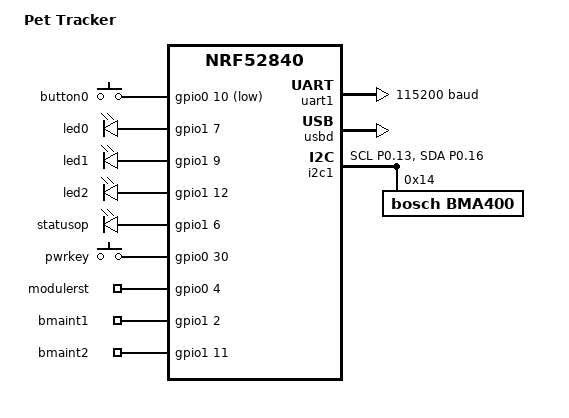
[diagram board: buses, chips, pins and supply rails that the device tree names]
// Copyright (c) 2024 Nordic Semiconductor ASA
// SPDX-License-Identifier: Apache-2.0

/dts-v1/;
#include <nordic/nrf52840_qiaa.dtsi>
#include "pet_tracker_pinctrl.dtsi"

/ {
	model = "Pet Tracker";
	compatible = "indiesemic,pet-tracker";

	chosen {
		zephyr,sram = &sram0;
		zephyr,flash = &flash0;
		zephyr,code-partition = &slot0_partition;
		zephyr,uart-mcumgr = &cdc_acm_uart0;
		zephyr,console = &cdc_acm_uart0;
		zephyr,shell-uart = &cdc_acm_uart0;
		zephyr,bt-mon-uart = &cdc_acm_uart0;
		zephyr,bt-c2h-uart = &cdc_acm_uart0;
	};

	buttons {
		compatible = "gpio-keys";
		button0: button_0 {
			gpios = <&gpio0 10 (GPIO_ACTIVE_LOW | GPIO_PULL_UP)>;
		};
	};

	leds {
		compatible = "gpio-leds";
		led0: led_0 {
			gpios = <&gpio1 7 0>;
		};

		led1: led_1 {
			gpios = <&gpio1 9 GPIO_ACTIVE_HIGH>;
		};

		led2: led_2 {
			gpios = <&gpio1 12 0>;
		};

		statusop: status_op {
			gpios = <&gpio1 6 GPIO_ACTIVE_HIGH>;
		};
	};

	ec200u {
		compatible = "gpio-keys";
		pwrkey:pwr_key {
			gpios = < &gpio0 30 GPIO_ACTIVE_HIGH >;
		};

		modulerst:module_rst {
			gpios = < &gpio0 4 GPIO_ACTIVE_HIGH >;
		};
	};

	aliases {
		button0 = &button0;
		led0 = &led0;
		led1 = &led1;
		led2 = &led2;
		status-op = &statusop;
		power-en = &pwrkey;
		module-rst = &modulerst;
	};

	bma400 {
		compatible = "gpio-keys";
		bmaint1:bma_int1 {
			gpios = < &gpio1 2 GPIO_ACTIVE_HIGH >;
		};
		bmaint2:bma_int2 {
			gpios = < &gpio1 11 GPIO_ACTIVE_HIGH >;
		};
	};
};


&flash0 {
	partitions {
		compatible = "fixed-partitions";
		#address-cells = <1>;
		#size-cells = <1>;

		boot_partition: partition@0 {
			label = "mcuboot";
			reg = <0x0 0xc000>;
		};
		slot0_partition: partition@c000 {
			label = "image-0";
			reg = <0xc000 0x72000>;
		};
		slot1_partition: partition@7e000 {
			label = "image-1";
			reg = <0x7e000 0x72000>;
		};
		scratch_partition: partition@f0000 {
			label = "image-scratch";
			reg = <0xf0000 0xa000>;
		};
		storage_partition: partition@fa000 {
			label = "storage";
			reg = <0xfa000 0x6000>;
		};
	};
};

&uicr {
	gpio-as-nreset;
	nfct-pins-as-gpios;
};

&uart0 {
	compatible = "nordic,nrf-uarte";
};

&uart1 {
	compatible = "nordic,nrf-uarte";
	status = "okay";
	current-speed = <115200>;
	pinctrl-0 = <&uart1_default>;
	pinctrl-1 = <&uart1_sleep>;
	pinctrl-names = "default", "sleep";
};

// &uart0 {
// 	compatible = "nordic,nrf-uarte";
// 	status = "okay";
// 	current-speed = <115200>;
// 	pinctrl-0 = <&uart0_defualt>;
// 	pinctrl-names = "default";
// };


&gpio0 {
	status = "okay";
};

&gpio1 {
	status = "okay";
};

&gpiote {
	status = "okay";
};

zephyr_udc0: &usbd {
	compatible = "nordic,nrf-usbd";
	status = "okay";
	cdc_acm_uart0: cdc_acm_uart0 {
		compatible = "zephyr,cdc-acm-uart";
	};
};

&pinctrl {
	i2c1_default: i2c1_default {
		group1 {
			psels = <NRF_PSEL(TWIM_SCL, 0, 13)>, <NRF_PSEL(TWIM_SDA, 0, 16)>;
			bias-pull-up;
		};
	};
};



&i2c1 {
	status = "okay";
	pinctrl-0 = <&i2c1_default>;
	pinctrl-names = "default";
	bma400: bma400@14{
		compatible="bosch,bma400";
		reg=<0x14>;
		label = "BMA400";
	};
};
